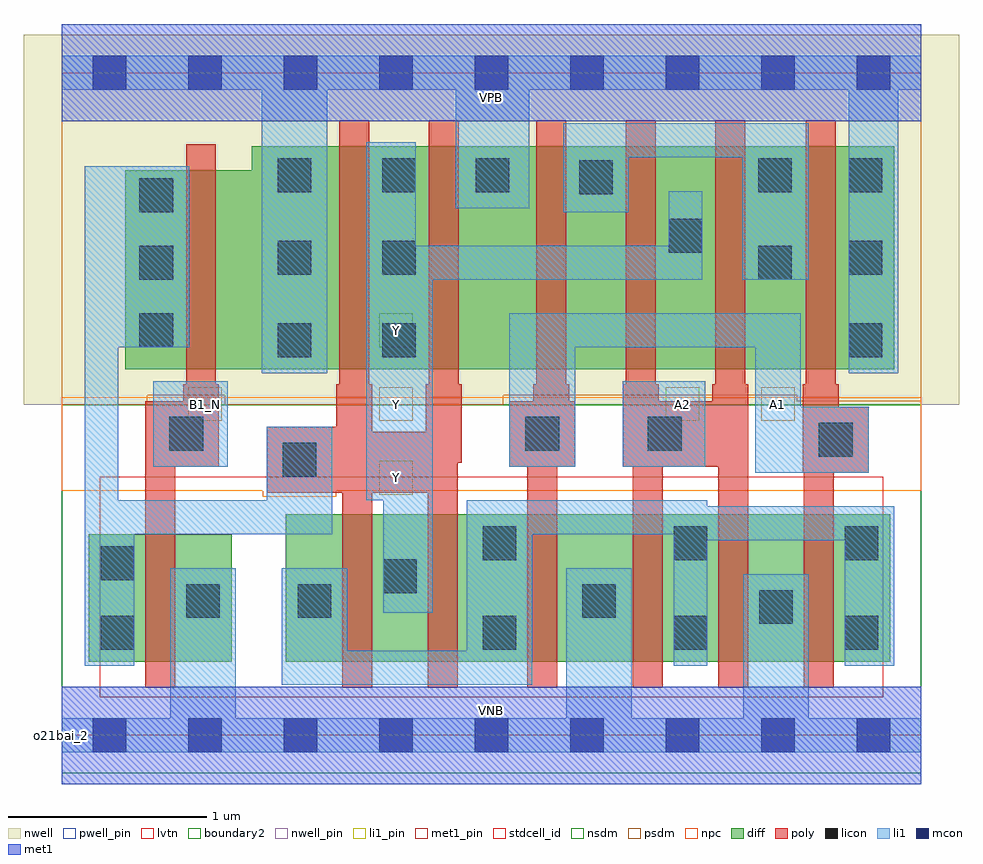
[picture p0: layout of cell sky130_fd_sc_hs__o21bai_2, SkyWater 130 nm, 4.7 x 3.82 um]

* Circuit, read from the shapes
.subckt sky130_fd_sc_hs__o21bai_2 A1 A2 B1_N VGND VNB VPB VPWR Y
XM1 VGND B1_N n1 VNB sky130_fd_pr__nfet_01v8_lvt w=0.64 l=0.15
XM2 Y n1 n2 VNB sky130_fd_pr__nfet_01v8_lvt w=0.74 l=0.15 m=2
XM3 VGND A1 n2 VNB sky130_fd_pr__nfet_01v8_lvt w=0.74 l=0.15 m=2
XM4 n2 A2 VGND VNB sky130_fd_pr__nfet_01v8_lvt w=0.74 l=0.15 m=2
XM5 VPWR B1_N n1 VPB sky130_fd_pr__pfet_01v8 w=1 l=0.15
XM6 Y n1 VPWR VPB sky130_fd_pr__pfet_01v8 w=1.12 l=0.15 m=2
XM7 n3 A1 VPWR VPB sky130_fd_pr__pfet_01v8 w=1.12 l=0.15 m=2
XM8 Y A2 n3 VPB sky130_fd_pr__pfet_01v8 w=1.12 l=0.15 m=2
.ends

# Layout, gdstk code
import gdstk
lib = gdstk.Library(unit=1e-6, precision=1e-09)
def R(c, l, rs):  # rectangles x0, y0, x1, y1
    for r in rs: c.add(gdstk.rectangle(r[:2], r[2:], *l))
def A(c, l, x, y, w, h, nx, ny, dx, dy):  # array of equal rectangles
    R(c, l, [(x+i*dx, y+j*dy, x+i*dx+w, y+j*dy+h) for i in range(nx) for j in range(ny)])
def P(c, l, *ps):  # polygons
    for p in ps: c.add(gdstk.Polygon(p, *l))
nwell_pin = (64, 16)
nwell = (64, 20)
diff = (65, 20)
poly = (66, 20)
licon = (66, 44)
li1_pin = (67, 16)
li1 = (67, 20)
mcon = (67, 44)
met1_pin = (68, 16)
met1 = (68, 20)
stdcell_id = (81, 4)
nsdm = (93, 44)
psdm = (94, 20)
npc = (95, 20)
pwell_pin = (122, 16)
lvtn = (125, 44)
boundary2 = (236, 0)

sky130_fd_sc_hs__o21bai_ = lib.new_cell('sky130_fd_sc_hs__o21bai_2')
R(sky130_fd_sc_hs__o21bai_, nwell_pin, [(0,3.085,4.32,3.33)])
R(sky130_fd_sc_hs__o21bai_, nwell, [(-0.19,1.66,4.51,3.52)])
R(sky130_fd_sc_hs__o21bai_, diff, [(0.135,0.37,0.855,1.01), (1.125,0.37,4.165,1.11)])
P(sky130_fd_sc_hs__o21bai_, diff, [(4.185,2.96),(0.955,2.96),(0.955,2.84),(0.32,2.84),(0.32,1.84),(4.185,1.84)])
P(sky130_fd_sc_hs__o21bai_, poly, [(4.055,1.65),(3.905,1.65),(3.905,1.765),(3.89,1.765),(3.89,3.09),(3.74,3.09),(3.74,1.765),(3.725,1.765),(3.725,1.32),(3.73,1.32),(3.73,0.24),(3.88,0.24),(3.88,1.32),(4.055,1.32)],
  [(3.45,1.765),(3.435,1.765),(3.435,3.09),(3.285,3.09),(3.285,1.765),(3.27,1.765),(3.27,1.68),(3,1.68),(3,1.765),(2.985,1.765),(2.985,3.09),(2.835,3.09),(2.835,1.765),(2.82,1.765),(2.82,1.35),(2.87,1.35),(2.87,0.24),(3.02,0.24),(3.02,1.35),(3.3,1.35),(3.3,0.24),(3.45,0.24)],
  [(2.58,1.68),(2.55,1.68),(2.55,1.765),(2.535,1.765),(2.535,3.09),(2.385,3.09),(2.385,1.765),(2.37,1.765),(2.37,1.68),(2.25,1.68),(2.25,1.35),(2.34,1.35),(2.34,0.24),(2.49,0.24),(2.49,1.35),(2.58,1.35)],
  [(2.01,1.765),(1.995,1.765),(1.995,3.09),(1.845,3.09),(1.845,1.765),(1.83,1.765),(1.83,1.525),(1.56,1.525),(1.56,1.765),(1.545,1.765),(1.545,3.09),(1.395,3.09),(1.395,1.765),(1.38,1.765),(1.38,1.55),(1.03,1.55),(1.03,1.22),(1.41,1.22),(1.41,0.24),(1.56,0.24),(1.56,1.22),(1.84,1.22),(1.84,0.24),(1.99,0.24),(1.99,1.37),(2.01,1.37)],
  [(0.79,1.765),(0.775,1.765),(0.775,2.97),(0.625,2.97),(0.625,1.765),(0.61,1.765),(0.61,1.68),(0.42,1.68),(0.42,0.24),(0.57,0.24),(0.57,1.35),(0.79,1.35)])
A(sky130_fd_sc_hs__o21bai_, licon, 1.085, 1.9, 0.17, 0.17, 1, 3, 0, 0.415)
A(sky130_fd_sc_hs__o21bai_, licon, 1.61, 1.9, 0.17, 0.17, 1, 3, 0, 0.415)
A(sky130_fd_sc_hs__o21bai_, licon, 3.955, 1.9, 0.17, 0.17, 1, 3, 0, 0.415)
A(sky130_fd_sc_hs__o21bai_, licon, 0.39, 1.95, 0.17, 0.17, 1, 3, 0, 0.34)
R(sky130_fd_sc_hs__o21bai_, licon, [(0.195,0.43,0.365,0.6), (2.115,0.43,2.285,0.6), (3.075,0.43,3.245,0.6), (3.935,0.43,4.105,0.6), (3.505,0.56,3.675,0.73), (0.625,0.59,0.795,0.76), (1.185,0.59,1.355,0.76), (2.615,0.59,2.785,0.76), (1.615,0.715,1.785,0.885), (0.195,0.78,0.365,0.95), (2.115,0.88,2.285,1.05), (3.075,0.88,3.245,1.05), (3.935,0.88,4.105,1.05), (1.11,1.3,1.28,1.47), (3.805,1.4,3.975,1.57), (0.54,1.43,0.71,1.6), (2.33,1.43,2.5,1.6), (2.945,1.43,3.115,1.6), (3.5,2.29,3.67,2.46), (3.05,2.425,3.22,2.595), (2.6,2.72,2.77,2.89), (2.08,2.73,2.25,2.9), (3.5,2.73,3.67,2.9)])
A(sky130_fd_sc_hs__o21bai_, li1_pin, 1.595, 1.21, 0.17, 0.17, 1, 3, 0, 0.37)
R(sky130_fd_sc_hs__o21bai_, li1_pin, [(0.635,1.58,0.805,1.75), (3.035,1.58,3.205,1.75), (3.515,1.58,3.685,1.75)])
R(sky130_fd_sc_hs__o21bai_, li1, [(0.46,1.35,0.835,1.78), (2.82,1.35,3.235,1.78)])
P(sky130_fd_sc_hs__o21bai_, li1, [(0,-0.085),(0,0.085),(0.545,0.085),(0.545,0.84),(0.875,0.84),(0.875,0.085),(2.535,0.085),(2.535,0.84),(2.865,0.84),(2.865,0.085),(3.425,0.085),(3.425,0.81),(3.755,0.81),(3.755,0.085),(4.32,0.085),(4.32,-0.085)],
  [(4.32,3.415),(0,3.415),(0,3.245),(1.005,3.245),(1.005,1.82),(1.335,1.82),(1.335,3.245),(1.98,3.245),(1.98,2.65),(2.35,2.65),(2.35,3.245),(3.955,3.245),(3.955,1.82),(4.205,1.82),(4.205,3.245),(4.32,3.245)],
  [(2.25,2.12),(3.715,2.12),(3.715,1.65),(4.055,1.65),(4.055,1.32),(3.485,1.32),(3.485,1.95),(2.58,1.95),(2.58,1.35),(2.25,1.35)],
  [(0.64,2.86),(0.64,1.95),(0.285,1.95),(0.285,1.18),(1.03,1.18),(1.03,1.55),(1.36,1.55),(1.36,1.01),(0.365,1.01),(0.365,0.35),(0.115,0.35),(0.115,2.86)],
  [(1.53,2.98),(1.78,2.98),(1.78,2.46),(3.05,2.46),(3.05,2.735),(3.22,2.735),(3.22,2.29),(1.865,2.29),(1.865,0.615),(1.615,0.615),(1.615,1.18),(1.53,1.18)],
  [(3.42,2.905),(2.85,2.905),(2.85,2.63),(2.52,2.63),(2.52,3.075),(3.755,3.075),(3.755,2.29),(3.42,2.29)],
  [(3.245,1.18),(3.245,1.15),(4.185,1.15),(4.185,0.35),(3.935,0.35),(3.935,0.98),(3.245,0.98),(3.245,0.35),(3.075,0.35),(3.075,1.01),(2.365,1.01),(2.365,0.255),(1.105,0.255),(1.105,0.84),(1.435,0.84),(1.435,0.425),(2.035,0.425),(2.035,1.18)])
A(sky130_fd_sc_hs__o21bai_, mcon, 0.155, -0.085, 0.17, 0.17, 9, 2, 0.48, 3.33)
R(sky130_fd_sc_hs__o21bai_, met1_pin, [(0,0,4.32,0.245), (0,3.085,4.32,3.33)])
R(sky130_fd_sc_hs__o21bai_, met1, [(0,-0.245,4.32,0.245), (0,3.085,4.32,3.575)])
R(sky130_fd_sc_hs__o21bai_, stdcell_id, [(0,0,4.32,3.33)])
R(sky130_fd_sc_hs__o21bai_, nsdm, [(0,-0.19,4.32,1.66)])
P(sky130_fd_sc_hs__o21bai_, psdm, [(4.32,3.52),(0,3.52),(0,1.66),(0.43,1.66),(0.43,1.71),(0.82,1.71),(0.82,1.66),(2.22,1.66),(2.22,1.71),(3.695,1.71),(3.695,1.68),(4.32,1.68)])
P(sky130_fd_sc_hs__o21bai_, npc, [(4.32,1.7),(0,1.7),(0,1.23),(1.01,1.23),(1.01,1.2),(1.38,1.2),(1.38,1.23),(4.32,1.23)])
R(sky130_fd_sc_hs__o21bai_, pwell_pin, [(0,0,4.32,0.245)])
R(sky130_fd_sc_hs__o21bai_, lvtn, [(0.19,0.19,4.13,1.3)])
R(sky130_fd_sc_hs__o21bai_, boundary2, [(0,0,4.32,3.33)])
sky130_fd_sc_hs__o21bai_.add(gdstk.Label('o21bai_2', (0,0), layer=83, texttype=44))
sky130_fd_sc_hs__o21bai_.add(gdstk.Label('VNB', (2.16,0.123), layer=64, texttype=59))
sky130_fd_sc_hs__o21bai_.add(gdstk.Label('VPB', (2.16,3.208), layer=64, texttype=5))
sky130_fd_sc_hs__o21bai_.add(gdstk.Label('VPWR', (2.16,3.208), layer=68, texttype=5))
sky130_fd_sc_hs__o21bai_.add(gdstk.Label('VGND', (2.16,0.123), layer=68, texttype=5))
sky130_fd_sc_hs__o21bai_.add(gdstk.Label('A1', (3.6,1.665), layer=67, texttype=5))
sky130_fd_sc_hs__o21bai_.add(gdstk.Label('A2', (3.12,1.665), layer=67, texttype=5))
sky130_fd_sc_hs__o21bai_.add(gdstk.Label('B1_N', (0.72,1.665), layer=67, texttype=5))
sky130_fd_sc_hs__o21bai_.add(gdstk.Label('Y', (1.68,1.295), layer=67, texttype=5))
sky130_fd_sc_hs__o21bai_.add(gdstk.Label('Y', (1.68,1.665), layer=67, texttype=5))
sky130_fd_sc_hs__o21bai_.add(gdstk.Label('Y', (1.68,2.035), layer=67, texttype=5))

lib.write_gds('sky130_fd_sc_hs__o21bai_2.gds')
